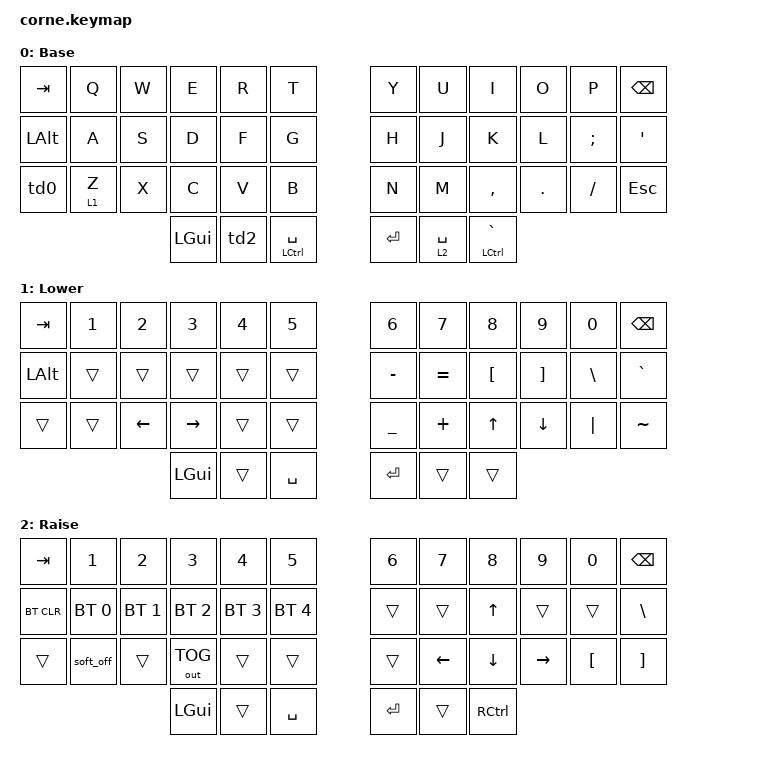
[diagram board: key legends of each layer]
/*
 * Copyright (c) 2020 The ZMK Contributors
 *
 * SPDX-License-Identifier: MIT
 */

#include <behaviors.dtsi>
#include <dt-bindings/zmk/keys.h>
#include <dt-bindings/zmk/bt.h>
#include <dt-bindings/zmk/outputs.h>

/ {
        behaviors {
            td0: tap_dance_shift_ctrl {
                compatible = "zmk,behavior-tap-dance";
                #binding-cells = <0>;
                tapping-term-ms = <200>;
                bindings = <&kp LSHFT>, <&kp LCTRL>;
            };
            td1: tap_dance_minus_del {
                compatible = "zmk,behavior-tap-dance";
                #binding-cells = <0>;
                tapping-term-ms = <200>;
                bindings = <&kp BKSP>, <&kp MINUS>;
            };    
            td2: tap_dance_lower_raise {
                compatible = "zmk,behavior-tap-dance";
                #binding-cells = <0>;
                tapping-term-ms = <200>;
                bindings = <&mo 1>, <&mo 2>;
            };    
        };
        keymap {
                compatible = "zmk,keymap";

                default_layer {
// -----------------------------------------------------------------------------------------
// |  TAB |  Q  |  W  |  E  |  R  |  T  |   |  Y  |  U   |  I  |  O  |  P  | BKSP |
// | ALT  |  A  |  S  |  D  |  F  |  G  |   |  H  |  J   |  K  |  L  |  ;  |  '   |
// | td0  |Z/LWR|  X  |  C  |  V  |  B  |   |  N  |  M   |  ,  |  .  |  /  | ESC  |
//                    | GUI/LFT | LWR/td2 | SPC |   | ENT | RSE/SPACE  |CTRL |
                        display-name = "Base";
                        bindings = <
   &kp TAB   &kp Q &kp W &kp E &kp R &kp T   &kp Y &kp U  &kp I     &kp O   &kp P   &kp BSPC
   &kp LALT &kp A &kp S &kp D &kp F &kp G   &kp H &kp J  &kp K     &kp L   &kp SEMI &kp SQT
   &td0     &lt 1 Z &kp X &kp C &kp V &kp B   &kp N &kp M  &kp COMMA &kp DOT &kp FSLH &kp ESC
                  &kp LGUI &td2 &mt LCTRL SPACE   &kp RET &lt 2 SPACE &mt LCTRL GRAVE
                        >;
                };

                lower_layer {
// -----------------------------------------------------------------------------------------
// |  TAB |  1  |  2  |  3  |  4  |  5  |   |  6  |  7  |  8  |  9  |  0  | BKSP |
// | ALT  |     |     |     |     |     |   |  -  |  =  |  [  |  ]  |  \  |  `   |
// |      |     | LFT | RGT |     |     |   |  _  |  +  |  UP  |  DWN  | "|" |  ~   |
//                    | GUI |     | SPC |   | ENT |     |     |
                        display-name = "Lower";
                        bindings = <
   &kp TAB    &kp N1       &kp N2       &kp N3       &kp N4       &kp N5         &kp N6   &kp N7   &kp N8    &kp N9       &kp N0 &kp BSPC
   &kp LALT &trans   &trans &trans   &trans   &trans      &kp MINUS &kp EQUAL &kp LBKT        &kp RBKT &kp BSLH &kp GRAVE
   &trans   &trans   &kp LEFT &kp RIGHT   &trans   &trans      &kp UNDER &kp PLUS  &kp UP        &kp DOWN &kp PIPE &kp TILDE
                    	     &kp LGUI &trans   &kp SPACE   &kp RET   &trans    &trans
                        >;
                };
                raise_layer {
// -----------------------------------------------------------------------------------------
// |  TAB |  1  |  2  |  3  |  4  |  5  |   |  6  |  7  |  8  |  9  |  0  | BKSP |
// | BTCLR| BT1 | BT2 | BT3 | BT4 | BT5 |   |     |     |  UP |     |     |   \   |
// | SHFT | SOFF|    |OUT_TOG|    |     |   |     | LFT | DWN | RGT |  [   |   ]   |
//                    | GUI |     | SPC |   | ENT |     | ALT |
                        display-name = "Raise";
                        bindings = <
   &kp TAB    &kp N1       &kp N2       &kp N3       &kp N4       &kp N5         &kp N6   &kp N7   &kp N8    &kp N9       &kp N0 &kp BSPC
   &bt BT_CLR &bt BT_SEL 0 &bt BT_SEL 1 &bt BT_SEL 2 &bt BT_SEL 3 &bt BT_SEL 4   &trans   &trans   &kp UP    &trans       &trans &kp BSLH
   &trans     &soft_off    &trans       &out OUT_TOG &trans       &trans         &trans   &kp LEFT &kp DOWN  &kp RIGHT    &kp LBKT &kp RBKT
                          	        &kp LGUI     &trans       &kp SPACE      &kp RET  &trans   &kp RCTRL
                        >;
                };


        };
};
